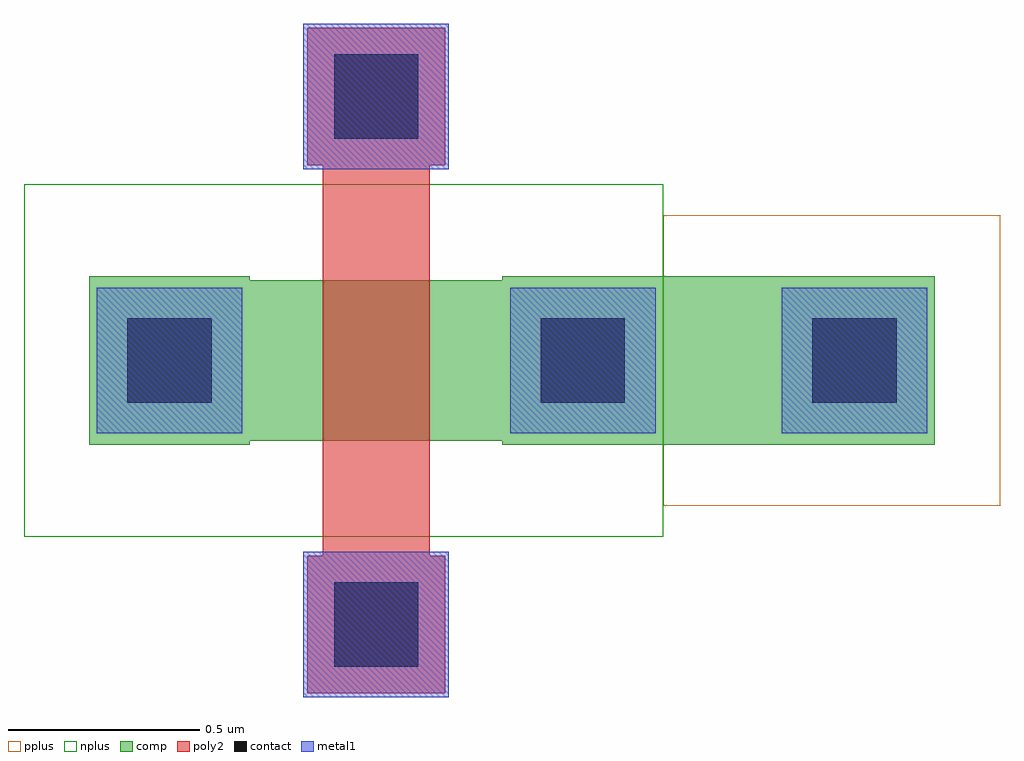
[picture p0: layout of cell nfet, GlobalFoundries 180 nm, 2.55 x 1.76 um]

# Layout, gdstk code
import gdstk
lib = gdstk.Library(unit=1e-6, precision=1e-09)
def R(c, l, rs):  # rectangles x0, y0, x1, y1
    for r in rs: c.add(gdstk.rectangle(r[:2], r[2:], *l))
def P(c, l, *ps):  # polygons
    for p in ps: c.add(gdstk.Polygon(p, *l))
comp = (22, 0)
poly2 = (30, 0)
pplus = (31, 0)
nplus = (32, 0)
contact = (33, 0)
metal1 = (34, 0)

nfet = lib.new_cell('nfet')
P(nfet, comp, [(-0.42,-0.01),(-0.42,0.43),(0,0.43),(0,0.42),(0.66,0.42),(0.66,0.43),(1.79,0.43),(1.79,-0.01),(0.66,-0.01),(0.66,0),(0,0),(0,-0.01)])
P(nfet, poly2, [(0.15,-0.66),(0.15,-0.3),(0.19,-0.3),(0.19,0.72),(0.15,0.72),(0.15,1.08),(0.51,1.08),(0.51,0.72),(0.47,0.72),(0.47,-0.3),(0.51,-0.3),(0.51,-0.66)])
R(nfet, pplus, [(1.08,-0.17,1.96,0.59)])
R(nfet, nplus, [(-0.59,-0.25,1.08,0.67)])
R(nfet, contact, [(0.22,-0.59,0.44,-0.37), (-0.32,0.1,-0.1,0.32), (0.76,0.1,0.98,0.32), (1.47,0.1,1.69,0.32), (0.22,0.79,0.44,1.01)])
R(nfet, metal1, [(0.14,-0.67,0.52,-0.29), (-0.4,0.02,-0.02,0.4), (0.68,0.02,1.06,0.4), (1.39,0.02,1.77,0.4), (0.14,0.71,0.52,1.09)])

lib.write_gds('nfet.gds')
